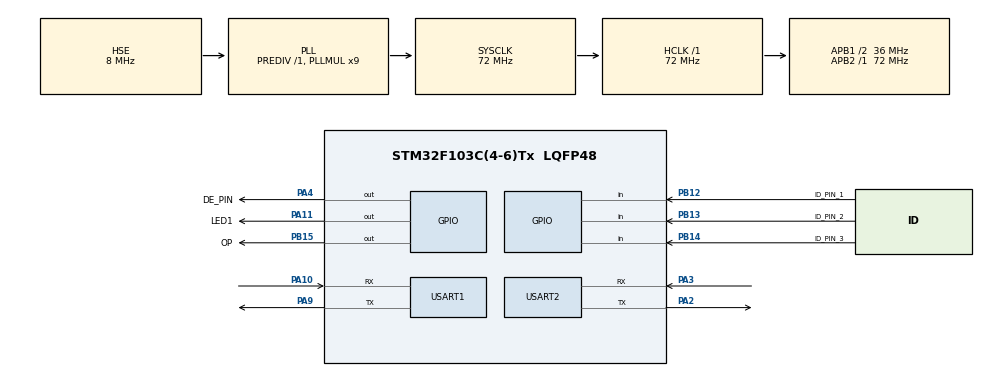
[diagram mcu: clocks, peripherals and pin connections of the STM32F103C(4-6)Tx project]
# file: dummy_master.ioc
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Dma.Request0=USART1_TX
Dma.Request1=USART2_RX
Dma.Request2=USART2_TX
Dma.Request3=USART1_RX
Dma.USART1_RX.3.Direction=DMA_PERIPH_TO_MEMORY
Dma.USART1_RX.3.Instance=DMA1_Channel5
Dma.USART1_RX.3.MemDataAlignment=DMA_MDATAALIGN_BYTE
Dma.USART1_RX.3.MemInc=DMA_MINC_ENABLE
Dma.USART1_RX.3.Mode=DMA_NORMAL
Dma.USART1_RX.3.PeriphDataAlignment=DMA_PDATAALIGN_BYTE
Dma.USART1_RX.3.PeriphInc=DMA_PINC_DISABLE
Dma.USART1_RX.3.Priority=DMA_PRIORITY_HIGH
Dma.USART1_TX.0.Direction=DMA_MEMORY_TO_PERIPH
Dma.USART1_TX.0.Instance=DMA1_Channel4
Dma.USART1_TX.0.MemDataAlignment=DMA_MDATAALIGN_BYTE
Dma.USART1_TX.0.MemInc=DMA_MINC_ENABLE
Dma.USART1_TX.0.Mode=DMA_NORMAL
Dma.USART1_TX.0.PeriphDataAlignment=DMA_PDATAALIGN_BYTE
Dma.USART1_TX.0.PeriphInc=DMA_PINC_DISABLE
Dma.USART1_TX.0.Priority=DMA_PRIORITY_HIGH
Dma.USART2_RX.1.Direction=DMA_PERIPH_TO_MEMORY
Dma.USART2_RX.1.Instance=DMA1_Channel6
Dma.USART2_RX.1.MemDataAlignment=DMA_MDATAALIGN_BYTE
Dma.USART2_RX.1.MemInc=DMA_MINC_ENABLE
Dma.USART2_RX.1.Mode=DMA_NORMAL
Dma.USART2_RX.1.PeriphDataAlignment=DMA_PDATAALIGN_BYTE
Dma.USART2_RX.1.PeriphInc=DMA_PINC_DISABLE
Dma.USART2_RX.1.Priority=DMA_PRIORITY_LOW
Dma.USART2_TX.2.Direction=DMA_MEMORY_TO_PERIPH
Dma.USART2_TX.2.Instance=DMA1_Channel7
Dma.USART2_TX.2.MemDataAlignment=DMA_MDATAALIGN_BYTE
Dma.USART2_TX.2.MemInc=DMA_MINC_ENABLE
Dma.USART2_TX.2.Mode=DMA_NORMAL
Dma.USART2_TX.2.PeriphDataAlignment=DMA_PDATAALIGN_BYTE
Dma.USART2_TX.2.PeriphInc=DMA_PINC_DISABLE
Dma.USART2_TX.2.Priority=DMA_PRIORITY_LOW
Mcu.Family=STM32F1
Mcu.Name=STM32F103C(4-6)Tx
Mcu.Package=LQFP48
NVIC.DMA1_Channel4_IRQn=true\:0\:0\:false\:false\:true\:false\:true\:true
NVIC.DMA1_Channel5_IRQn=true\:0\:0\:false\:false\:true\:false\:true\:true
NVIC.DMA1_Channel6_IRQn=true\:0\:0\:false\:false\:true\:false\:true\:true
NVIC.DMA1_Channel7_IRQn=true\:0\:0\:false\:false\:true\:false\:true\:true
NVIC.PriorityGroup=NVIC_PRIORITYGROUP_4
NVIC.TIM1_UP_IRQn=true\:0\:0\:false\:false\:true\:true\:true\:true
NVIC.USART1_IRQn=true\:0\:0\:false\:false\:true\:true\:true\:true
NVIC.USART2_IRQn=true\:0\:0\:false\:false\:true\:true\:true\:true
PA10.Mode=Asynchronous
PA10.Signal=USART1_RX
PA11.GPIO_Label=LED1
PA11.Signal=GPIO_Output
PA13.Mode=Serial_Wire
PA13.Signal=SYS_JTMS-SWDIO
PA14.Mode=Serial_Wire
PA14.Signal=SYS_JTCK-SWCLK
PA2.Mode=Asynchronous
PA2.Signal=USART2_TX
PA3.Mode=Asynchronous
PA3.Signal=USART2_RX
PA4.GPIO_Label=DE_PIN
PA4.Signal=GPIO_Output
PA9.Mode=Asynchronous
PA9.Signal=USART1_TX
PB12.GPIO_Label=ID_PIN_1
PB12.Signal=GPIO_Input
PB13.GPIO_Label=ID_PIN_2
PB13.Signal=GPIO_Input
PB14.GPIO_Label=ID_PIN_3
PB14.Signal=GPIO_Input
PB15.GPIO_Label=OP
PB15.Signal=GPIO_Output
PD0-OSC_IN.Mode=HSE-External-Oscillator
PD0-OSC_IN.Signal=RCC_OSC_IN
PD1-OSC_OUT.Mode=HSE-External-Oscillator
PD1-OSC_OUT.Signal=RCC_OSC_OUT
ProjectManager.HeapSize=0x200
ProjectManager.StackSize=0x400
ProjectManager.TargetToolchain=MDK-ARM V5.32
RCC.AHBFreq_Value=72000000
RCC.APB1CLKDivider=RCC_HCLK_DIV2
RCC.APB1Freq_Value=36000000
RCC.APB1TimFreq_Value=72000000
RCC.APB2Freq_Value=72000000
RCC.APB2TimFreq_Value=72000000
RCC.HCLKFreq_Value=72000000
RCC.PLLMUL=RCC_PLL_MUL9
RCC.PLLSourceVirtual=RCC_PLLSOURCE_HSE
RCC.SYSCLKFreq_VALUE=72000000
RCC.SYSCLKSource=RCC_SYSCLKSOURCE_PLLCLK
RCC.USBFreq_Value=72000000
TIM1.Period=1500-1
TIM1.Prescaler=72-1
USART1.VirtualMode=VM_ASYNC
USART2.VirtualMode=VM_ASYNC
VP_TIM1_VS_ClockSourceINT.Mode=Internal
board=custom

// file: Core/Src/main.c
/* USER CODE BEGIN Header */
/**
  ******************************************************************************
  * @file           : main.c
  * @brief          : Main program body
  ******************************************************************************
  * @attention
  *
  * Copyright (c) 2022 STMicroelectronics.
  * All rights reserved.
  *
  * This software is licensed under terms that can be found in the LICENSE file
  * in the root directory of this software component.
  * If no LICENSE file comes with this software, it is provided AS-IS.
  *
  ******************************************************************************
  */
/* USER CODE END Header */
#include "main.h"
#include "dma.h"
#include "tim.h"
#include "usart.h"
#include "gpio.h"

/* USER CODE BEGIN Includes */
#include "string.h"
#include "dummymaster.h"
#include "crc.h"
/* USER CODE END Includes */

/* USER CODE BEGIN PV */
extern UART_HandleTypeDef huart1;
extern UART_HandleTypeDef huart2;
extern DMA_HandleTypeDef hdma_usart1_rx;
extern DMA_HandleTypeDef hdma_usart2_rx;

/* USER CODE END PV */

void SystemClock_Config(void);

/* USER CODE BEGIN 0 */

#define RxBuf_SIZE 10
#define MainBuf_SIZE 9

uint8_t RxBuf[RxBuf_SIZE];
uint8_t MainBuf[MainBuf_SIZE];
extern uint16_t crccheck;

void HAL_UARTEx_RxEventCallback(UART_HandleTypeDef *huart, uint16_t Size)
{
	if(huart->Instance == USART2)
	{
	//	memcpy (MainBuf,RxBuf,Size);

		HAL_UARTEx_ReceiveToIdle_DMA(&huart2,RxBuf,RxBuf_SIZE);
		__HAL_DMA_DISABLE_IT(&hdma_usart2_rx,DMA_IT_HT);
	//	crccheck = CRC_chk(RxBuf,RxBuf_SIZE);
	}
}
//void HAL_TIM_PeriodElapsedCallback(TIM_HandleTypeDef *htim)
//{
//	if(htim->Instance == TIM1)
//	{
//		HAL_GPIO_TogglePin(LED1_GPIO_Port,LED1_Pin);
//	}
//}

void delay(uint16_t delay)
{
	__HAL_TIM_SET_COUNTER(&htim1,0);
	while(__HAL_TIM_GET_COUNTER(&htim1) < delay);
}

/* USER CODE END 0 */

int main(void)
{

  /* MCU Configuration--------------------------------------------------------*/

  /* Reset of all peripherals, Initializes the Flash interface and the Systick. */
  HAL_Init();

  /* Configure the system clock */
  SystemClock_Config();

  /* Initialize all configured peripherals */
  MX_GPIO_Init();
  MX_DMA_Init();
  MX_USART1_UART_Init();
  MX_USART2_UART_Init();
  MX_TIM1_Init();
  /* USER CODE BEGIN 2 */
	HAL_TIM_Base_Start_IT(&htim1);
	//HAL_TIM_Base_Start(&htim1);
	//HAL_UARTEx_ReceiveToIdle_DMA(&huart2,RxBuf,RxBuf_SIZE);
	//__HAL_DMA_DISABLE_IT(&hdma_usart2_rx,DMA_IT_HT);
  /* USER CODE END 2 */

  /* Infinite loop */
  while (1)
  {

  }
}

void SystemClock_Config(void)
{
  RCC_OscInitTypeDef RCC_OscInitStruct = {0};
  RCC_ClkInitTypeDef RCC_ClkInitStruct = {0};

  /** Initializes the RCC Oscillators according to the specified parameters
  * in the RCC_OscInitTypeDef structure.
  */
  RCC_OscInitStruct.OscillatorType = RCC_OSCILLATORTYPE_HSE;
  RCC_OscInitStruct.HSEState = RCC_HSE_ON;
  RCC_OscInitStruct.HSEPredivValue = RCC_HSE_PREDIV_DIV1;
  RCC_OscInitStruct.HSIState = RCC_HSI_ON;
  RCC_OscInitStruct.PLL.PLLState = RCC_PLL_ON;
  RCC_OscInitStruct.PLL.PLLSource = RCC_PLLSOURCE_HSE;
  RCC_OscInitStruct.PLL.PLLMUL = RCC_PLL_MUL9;
  if (HAL_RCC_OscConfig(&RCC_OscInitStruct) != HAL_OK)
  {
    Error_Handler();
  }

  /** Initializes the CPU, AHB and APB buses clocks
  */
  RCC_ClkInitStruct.ClockType = RCC_CLOCKTYPE_HCLK|RCC_CLOCKTYPE_SYSCLK
                              |RCC_CLOCKTYPE_PCLK1|RCC_CLOCKTYPE_PCLK2;
  RCC_ClkInitStruct.SYSCLKSource = RCC_SYSCLKSOURCE_PLLCLK;
  RCC_ClkInitStruct.AHBCLKDivider = RCC_SYSCLK_DIV1;
  RCC_ClkInitStruct.APB1CLKDivider = RCC_HCLK_DIV2;
  RCC_ClkInitStruct.APB2CLKDivider = RCC_HCLK_DIV1;

  if (HAL_RCC_ClockConfig(&RCC_ClkInitStruct, FLASH_LATENCY_2) != HAL_OK)
  {
    Error_Handler();
  }
}

void Error_Handler(void)
{
  __disable_irq();
  while (1)
  {
  }
}
